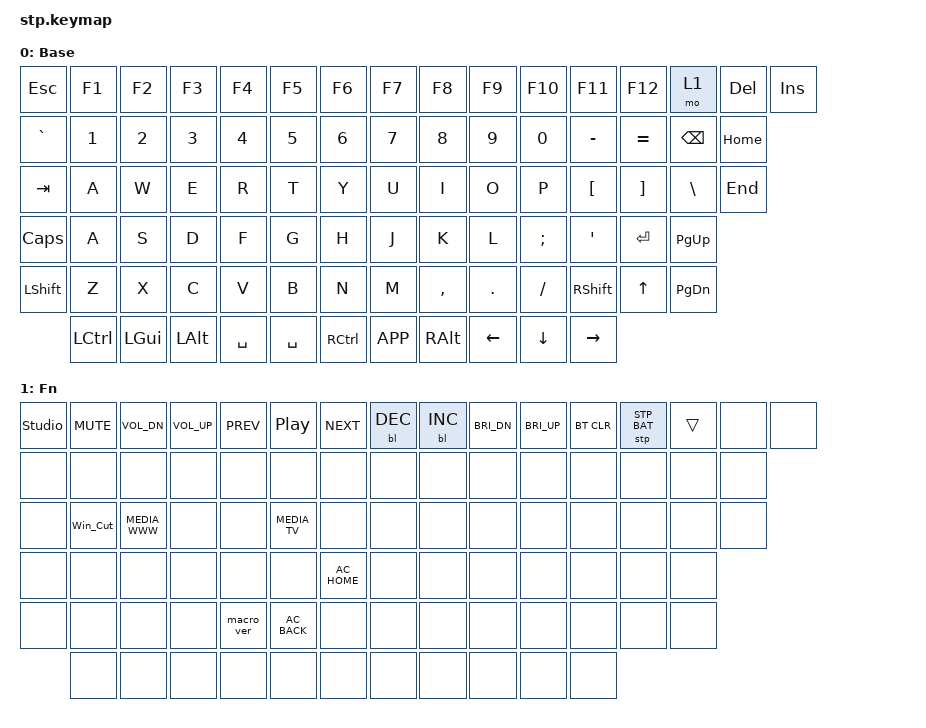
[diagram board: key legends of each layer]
#include <dt-bindings/zmk/reset.h>
#include <dt-bindings/zmk/stp.h>
#include <behaviors.dtsi>
#include <dt-bindings/zmk/backlight.h>
#include <dt-bindings/zmk/bt.h>
#include <dt-bindings/zmk/keys.h>
#include <dt-bindings/zmk/mouse.h>

#include "studio-macros.dtsi"

/ {
    behaviors {
        #include "version.dtsi"
    };
    keymap {
        compatible = "zmk,keymap";

        default_layer {
            display-name = "Base";

            // -----------------------------------------------------------------------------------------------------------
            // | ESC | F1  | F2  | F3  | F4  | F5  | F6  | F7  | F9  | F9  | F10 | F11 | F12 | 1 | DEL | INS    |
            // |  `  |  1  |  2  |  3  |  4  |  5  |  6  |  7  |  8  |  9  |  0  |  -  |  =  |   BKSP   | HOME  |
            // | TAB  |  Q  |  W  |  E  |  R  |  T  |  Y  |  U  |  I  |  O  |  P  |  [  |  ]  |    \    | END |
            // | CAPS  |  A  |  S  |  D  |  F  |  G  |  H  |  J  |  K  |  L  |  ;  |  '  |     ENTER     | PG UP |
            // |  SHIFT    |  Z  |  X  |  C  |  V  |  B  |  N  |  M  |  ,  |  .  | /   |    SHIFT |  UP  |  PG DN  |
            // |  CTL  |  WIN  |  ALT  |   SPACE   |  |  SPACE    | CTRL | MENU | ALT |  LEFT | DOWN | RIGHT |
            // ------------------------------------------------------------------------------------------------------------

            bindings = <
&kp ESC    &kp F1     &kp F2    &kp F3    &kp F4     &kp F5     &kp F6     &kp F7     &kp F8     &kp F9    &kp F10   &kp F11    &kp F12    &mo 1          &kp DEL   &kp INS
&kp GRAVE  &kp N1     &kp N2    &kp N3    &kp N4     &kp N5     &kp N6     &kp N7     &kp N8     &kp N9    &kp N0    &kp MINUS  &kp EQUAL  &kp BACKSPACE  &kp HOME
&kp TAB    &kp A      &kp W     &kp E     &kp R      &kp T      &kp Y      &kp U      &kp I      &kp O     &kp P     &kp LBKT   &kp RBKT   &kp BSLH       &kp END
&kp CLCK   &kp A      &kp S     &kp D     &kp F      &kp G      &kp H      &kp J      &kp K      &kp L     &kp SEMI  &kp SQT    &kp RET    &kp PG_UP
&kp LSHFT  &kp Z      &kp X     &kp C     &kp V      &kp B      &kp N      &kp M      &kp COMMA  &kp DOT   &kp FSLH  &kp RSHFT  &kp UP     &kp PG_DN
           &kp LCTRL  &kp LGUI  &kp LALT  &kp SPACE  &kp SPACE  &kp RCTRL  &kp K_APP  &kp RALT   &kp LEFT  &kp DOWN  &kp RIGHT
            >;
        };

        raise {
            display-name = "Fn";
            bindings = <
&studio_unlock  &kp C_MUTE  &kp C_VOL_DN     &kp C_VOL_UP  &kp C_PREV  &kp C_PP        &kp C_NEXT     &bl BL_DEC  &bl BL_INC  &kp C_BRI_DN  &kp C_BRI_UP  &bt BT_CLR  &stp STP_BAT  &trans  &none  &none
&none           &none       &none            &none         &none       &none           &none          &none       &none       &none         &none         &none       &none         &none   &none
&none           &Win_Cut       &kp C_MEDIA_WWW  &none         &none       &kp C_MEDIA_TV  &none          &none       &none       &none         &none         &none       &none         &none   &none
&none           &none       &none            &none         &none       &none           &kp C_AC_HOME  &none       &none       &none         &none         &none       &none         &none
&none           &none       &none            &none         &macro_ver  &kp C_AC_BACK   &none          &none       &none       &none         &none         &none       &none         &none
                &none       &none            &none         &none       &none           &none          &none       &none       &none         &none         &none
            >;
        };

        extra1 {
            display-name = "Blue";
            status = "reserved";
        };

        extra2 {
            display-name = "Green";
            status = "reserved";
        };

        extra3 {
            display-name = "Red";
            status = "reserved";
        };

        extra4 {
            display-name = "Purple";
            status = "reserved";
        };

        extra5 {
            display-name = "Cyan";
            status = "reserved";
        };

        extra6 {
            display-name = "Yellow";
            status = "reserved";
        };
    };
};
